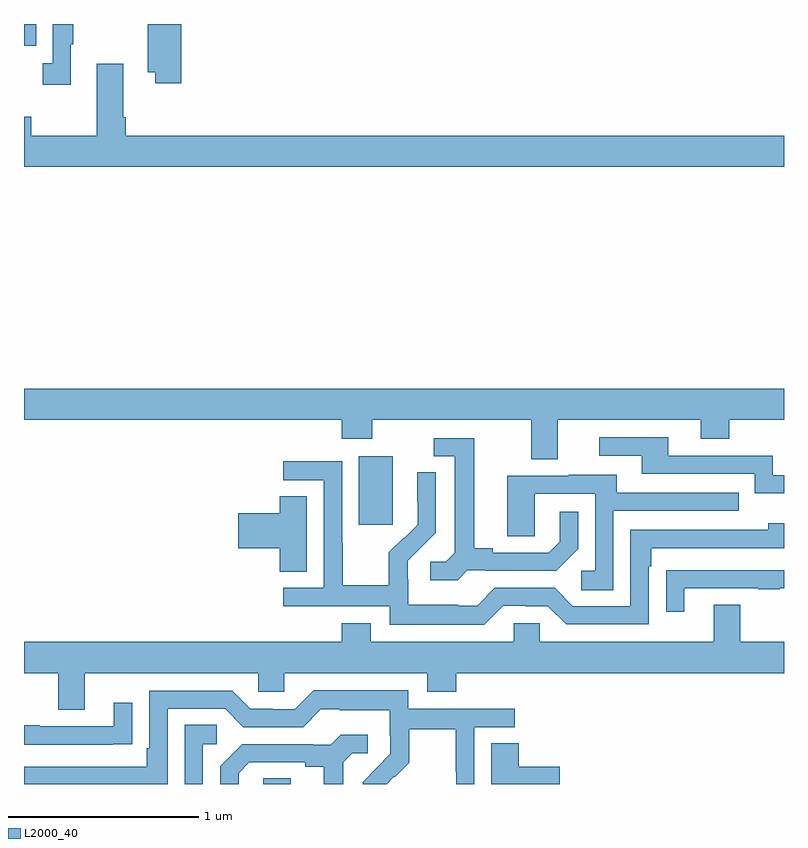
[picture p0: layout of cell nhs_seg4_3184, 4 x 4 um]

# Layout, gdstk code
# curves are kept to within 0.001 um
import gdstk
lib = gdstk.Library(unit=1e-6, precision=1e-09)
def R(c, l, rs):  # rectangles x0, y0, x1, y1
    for r in rs: c.add(gdstk.rectangle(r[:2], r[2:], *l))
def P(c, l, *ps):  # polygons
    for p in ps: c.add(gdstk.Polygon(p, *l))
L2000_40 = (2000, 40)

nhs_seg4_3184 = lib.new_cell('nhs_seg4_3184')
R(nhs_seg4_3184, L2000_40, [(280.26,798.9,280.405,798.929), (280.763,800.265,280.942,800.626), (279,802.786,279.065,802.9)])
P(nhs_seg4_3184, L2000_40, [(279.247,802.793),(279.259,802.793),(279.259,802.9),(279.15,802.9),(279.15,802.694),(279.099,802.694),(279.099,802.581),(279.247,802.581)],
  [(279.827,802.9),(279.652,802.9),(279.652,802.646),(279.692,802.646),(279.692,802.587),(279.827,802.587)],
  [(283,802.312),(279.536,802.312),(279.536,802.408),(279.523,802.408),(279.523,802.69),(279.383,802.69),(279.383,802.312),(279.039,802.312),(279.039,802.411),(279,802.411),(279,802.148),(283,802.148)],
  [(281.809,800.816),(282.563,800.816),(282.563,800.717),(282.711,800.717),(282.711,800.816),(283,800.816),(283,800.98),(279,800.98),(279,800.816),(280.673,800.816),(280.673,800.717),(280.833,800.717),(280.833,800.816),(281.669,800.816),(281.669,800.608),(281.809,800.608)],
  [(283,800.526),(282.942,800.526),(282.942,800.628),(282.391,800.628),(282.391,800.724),(282.027,800.724),(282.027,800.628),(282.251,800.628),(282.251,800.532),(282.846,800.532),(282.846,800.429),(283,800.429)],
  [(281.334,800.025),(281.428,800.025),(281.428,800.022),(281.8,800.022),(281.916,800.138),(281.916,800.332),(281.819,800.332),(281.819,800.175),(281.762,800.118),(281.467,800.118),(281.467,800.141),(281.371,800.141),(281.371,800.721),(281.157,800.721),(281.157,800.625),(281.267,800.625),(281.267,800.117),(281.22,800.07),(281.139,800.07),(281.139,799.973),(281.282,799.973)],
  [(281.523,799.839),(281.639,799.839),(281.639,799.836),(281.757,799.836),(281.853,799.74),(282.288,799.74),(282.288,800.045),(282.301,800.045),(282.301,800.142),(283,800.142),(283,800.272),(282.917,800.272),(282.917,800.238),(282.192,800.238),(282.192,799.836),(281.889,799.836),(281.793,799.932),(281.478,799.932),(281.385,799.839),(281.285,799.839),(281.285,799.843),(281.022,799.843),(281.022,799.977),(281.02,799.977),(281.02,800.074),(281.166,800.222),(281.166,800.54),(281.07,800.54),(281.07,800.386),(281.072,800.386),(281.072,800.264),(281.001,800.193),(280.998,800.196),(280.921,800.119),(280.921,799.945),(280.677,799.945),(280.677,800.168),(280.674,800.168),(280.674,800.598),(280.365,800.598),(280.365,800.499),(280.578,800.499),(280.578,799.932),(280.365,799.932),(280.365,799.836),(280.926,799.836),(280.926,799.739),(281.423,799.739)],
  [(282.102,800.337),(282.761,800.337),(282.761,800.433),(282.121,800.433),(282.121,800.527),(281.867,800.527),(281.867,800.523),(281.543,800.523),(281.543,800.203),(281.688,800.203),(281.688,800.427),(282.006,800.427),(282.006,800.022),(281.934,800.022),(281.934,799.921),(282.102,799.921)],
  [(280.489,800.414),(280.346,800.414),(280.346,800.324),(280.128,800.324),(280.128,800.141),(280.346,800.141),(280.346,800.017),(280.489,800.017)],
  [(282.475,799.929),(282.865,799.929),(282.865,799.924),(282.977,799.924),(282.977,799.929),(283,799.929),(283,800.025),(282.481,800.025),(282.481,800.024),(282.379,800.024),(282.379,799.806),(282.475,799.806)],
  [(279.319,799.484),(280.233,799.484),(280.233,799.386),(280.371,799.386),(280.371,799.484),(281.123,799.484),(281.123,799.385),(281.276,799.385),(281.276,799.484),(283,799.484),(283,799.648),(282.769,799.648),(282.769,799.843),(282.629,799.843),(282.629,799.648),(281.715,799.648),(281.715,799.746),(281.577,799.746),(281.577,799.648),(280.825,799.648),(280.825,799.747),(280.673,799.747),(280.673,799.648),(279,799.648),(279,799.484),(279.179,799.484),(279.179,799.29),(279.319,799.29)],
  [(279.756,799.296),(280.059,799.296),(280.155,799.2),(280.47,799.2),(280.563,799.293),(280.663,799.293),(280.663,799.289),(280.926,799.289),(280.926,799.155),(280.928,799.155),(280.928,799.058),(280.782,798.91),(280.782,798.9),(280.908,798.9),(280.947,798.939),(280.95,798.936),(281.027,799.013),(281.027,799.188),(281.272,799.188),(281.272,798.964),(281.274,798.964),(281.274,798.9),(281.37,798.9),(281.37,799.2),(281.584,799.2),(281.584,799.296),(281.022,799.296),(281.022,799.393),(280.525,799.393),(280.425,799.293),(280.31,799.293),(280.31,799.296),(280.191,799.296),(280.095,799.392),(279.66,799.392),(279.66,799.087),(279.647,799.087),(279.647,798.99),(279,798.99),(279,798.9),(279.756,798.9)],
  [(279.467,799.108),(279.569,799.108),(279.569,799.327),(279.473,799.327),(279.473,799.203),(279.083,799.203),(279.083,799.208),(279,799.208),(279,799.107),(279.467,799.107)],
  [(279.942,799.11),(280.015,799.11),(280.015,799.211),(279.846,799.211),(279.846,798.9),(279.942,798.9)],
  [(280.129,798.957),(280.186,799.014),(280.481,799.014),(280.481,798.992),(280.577,798.992),(280.577,798.9),(280.681,798.9),(280.681,799.015),(280.728,799.062),(280.81,799.062),(280.81,799.159),(280.666,799.159),(280.614,799.107),(280.52,799.107),(280.52,799.11),(280.148,799.11),(280.032,798.994),(280.032,798.9),(280.129,798.9)],
  [(281.821,798.992),(281.603,798.992),(281.603,799.115),(281.459,799.115),(281.459,798.9),(281.821,798.9)])

lib.write_gds('nhs_seg4_3184.gds')
